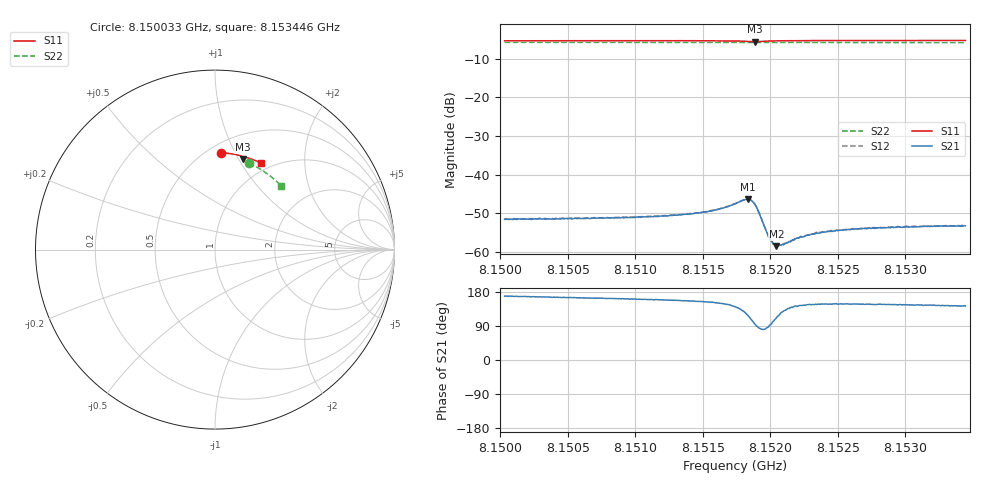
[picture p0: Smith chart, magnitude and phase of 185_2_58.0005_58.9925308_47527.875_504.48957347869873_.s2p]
#  HZ  S  RI  R  50.00
! Rohde & Schwarz Vector Network Analyzer
! Rohde-Schwarz,ZNB20-2Port,1311601062101988,3.16
! Created: UTC 3/21/2024, 12:58:36 AM
! freq[Hz]  re:S11  im:S11  re:S21  im:S21  re:S12  im:S12  re:S22  im:S22
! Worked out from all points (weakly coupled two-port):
!   401 points, 8.150033 GHz to 8.153446 GHz, reference 50 ohm
!   highest |S21| = -46.37 dB at 8.151833 GHz (marker M1); lowest = -58.5 dB at 8.152047 GHz (marker M2)
!   lowest |S11| = -5.6 dB at 8.151885 GHz (marker M3), VSWR 3.22, Z = 37.3 + j51.9 ohm
!   |S11| at or under -10 dB: nowhere
!   |S22| runs from -5.8 to -5.8 dB; largest |S21 - S12| = 0.00012
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8.1500331e9  0.0334 0.5393  -0.00259 0.00053  -0.00263 0.00057  0.1887 0.48
8.1506048e9  0.0735 0.5363  -0.00261 0.000757  -0.0026 0.000805  0.2222 0.4647
8.1511765e9  0.1137 0.53  -0.00272 0.00104  -0.00272 0.00113  0.2546 0.447
8.1513386e9  0.1253 0.5276  -0.00278 0.00119  -0.00278 0.00125  0.2636 0.4415
8.1515348e9  0.1397 0.5235  -0.00296 0.00148  -0.003 0.00157  0.2742 0.4346
8.1516372e9  0.1478 0.5206  -0.00317 0.00186  -0.00314 0.00193  0.2796 0.431
8.1517396e9  0.1562 0.5152  -0.00326 0.00266  -0.00325 0.0027  0.2852 0.4271
8.1517993e9  0.1596 0.5095  -0.00296 0.0036  -0.00293 0.00369  0.2882 0.4246
8.1518335e9  0.1593 0.5053  -0.00227 0.00423  -0.00225 0.0043  0.2898 0.4234
8.1518591e9  0.157 0.5029  -0.00138 0.00443  -0.00134 0.0045  0.291 0.4225
8.1518847e9  0.1539 0.5029  -0.000419 0.00417  -0.000367 0.0042  0.292 0.4214
8.1519188e9  0.1517 0.5064  0.000339 0.00315  0.000366 0.0032  0.2937 0.4205
8.15197e9  0.1542 0.5116  0.000207 0.00187  0.000247 0.00189  0.2964 0.4188
8.1519956e9  0.1567 0.5133  -4.01e-05 0.00151  2e-05 0.00151  0.2979 0.4177
8.1520297e9  0.1601 0.5141  -0.000321 0.00123  -0.000302 0.00122  0.2996 0.4165
8.1520468e9  0.162 0.5145  -0.000429 0.00111  -0.000465 0.00111  0.3005 0.416
8.152098e9  0.1667 0.5145  -0.000769 0.000967  -0.000765 0.00102  0.3034 0.414
8.1522089e9  0.176 0.5132  -0.00121 0.000928  -0.00119 0.000931  0.309 0.4096
8.1523113e9  0.1838 0.511  -0.00142 0.000934  -0.00143 0.000968  0.314 0.4054
8.1525673e9  0.2018 0.5052  -0.00165 0.00103  -0.00164 0.00107  0.3267 0.3951
8.152883e9  0.2228 0.4971  -0.00173 0.00115  -0.00171 0.0012  0.3417 0.3814
8.1534461e9  0.2585 0.4804  -0.00173 0.00133  -0.00175 0.00137  0.3671 0.3562
